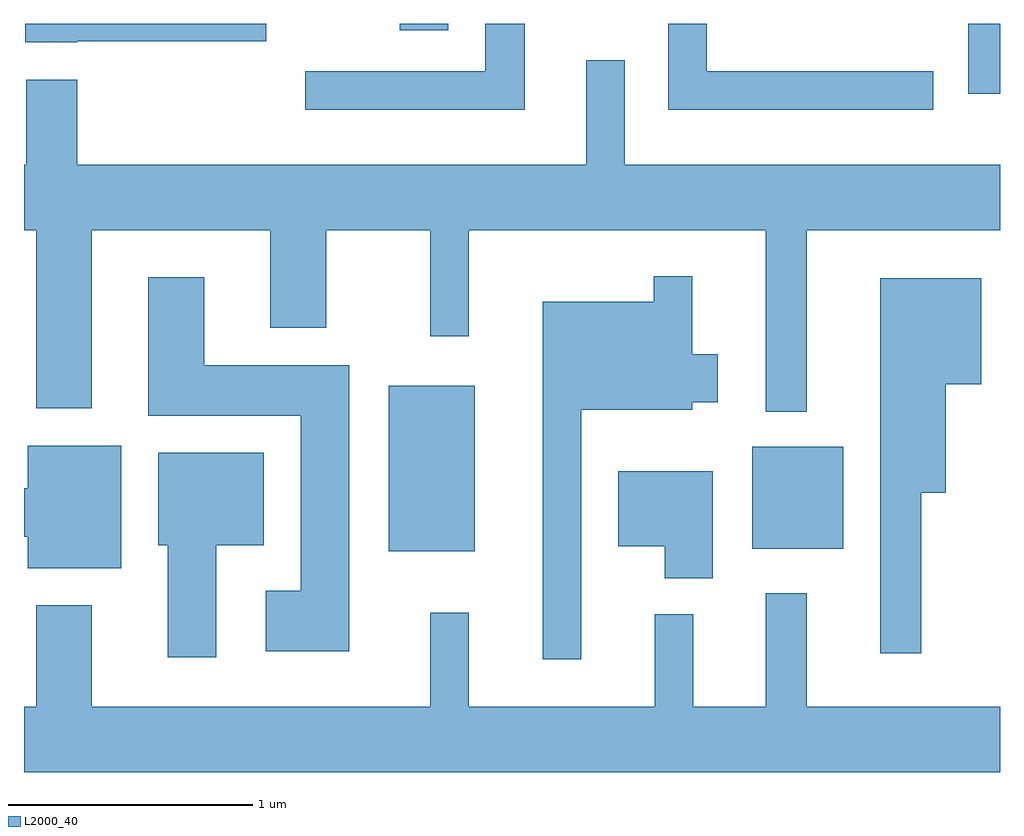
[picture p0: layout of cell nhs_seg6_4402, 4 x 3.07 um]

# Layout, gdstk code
import gdstk
lib = gdstk.Library(unit=1e-6, precision=1e-09)
def R(c, l, rs):  # rectangles x0, y0, x1, y1
    for r in rs: c.add(gdstk.rectangle(r[:2], r[2:], *l))
def P(c, l, *ps):  # polygons
    for p in ps: c.add(gdstk.Polygon(p, *l))
L2000_40 = (2000, 40)

nhs_seg6_4402 = lib.new_cell('nhs_seg6_4402')
R(nhs_seg6_4402, L2000_40, [(321.106,1602.001,321.459,1602.679), (322.596,1602.011,322.969,1602.429), (323.481,1603.876,323.611,1604.162), (321.151,1604.136,321.349,1604.162)])
P(nhs_seg6_4402, L2000_40, [(323.338,1603.969),(322.409,1603.969),(322.409,1604.162),(322.251,1604.162),(322.251,1603.811),(323.338,1603.811)],
  [(321.664,1604.162),(321.501,1604.162),(321.501,1603.969),(320.763,1603.969),(320.763,1603.811),(321.664,1603.811)],
  [(319.83,1604.091),(320.604,1604.091),(320.604,1604.162),(319.616,1604.162),(319.616,1604.086),(319.83,1604.086)],
  [(322.819,1603.316),(323.611,1603.316),(323.611,1603.584),(322.074,1603.584),(322.074,1604.013),(321.916,1604.013),(321.916,1603.584),(319.829,1603.584),(319.829,1603.934),(319.621,1603.934),(319.621,1603.584),(319.611,1603.584),(319.611,1603.316),(319.661,1603.316),(319.661,1602.586),(319.889,1602.586),(319.889,1603.316),(320.621,1603.316),(320.621,1602.916),(320.849,1602.916),(320.849,1603.316),(321.276,1603.316),(321.276,1602.883),(321.434,1602.883),(321.434,1603.316),(322.651,1603.316),(322.651,1602.573),(322.819,1602.573)],
  [(321.894,1602.581),(322.349,1602.581),(322.349,1602.611),(322.454,1602.611),(322.454,1602.809),(322.349,1602.809),(322.349,1603.128),(322.191,1603.128),(322.191,1603.024),(321.736,1603.024),(321.736,1601.558),(321.894,1601.558)],
  [(320.944,1602.764),(320.349,1602.764),(320.349,1603.124),(320.121,1603.124),(320.121,1602.556),(320.746,1602.556),(320.746,1601.839),(320.601,1601.839),(320.601,1601.591),(320.944,1601.591)],
  [(323.289,1602.241),(323.389,1602.241),(323.389,1602.686),(323.534,1602.686),(323.534,1603.119),(323.121,1603.119),(323.121,1601.583),(323.289,1601.583)],
  [(320.009,1602.434),(319.626,1602.434),(319.626,1602.259),(319.611,1602.259),(319.611,1602.061),(319.626,1602.061),(319.626,1601.931),(320.009,1601.931)],
  [(320.399,1602.026),(320.594,1602.026),(320.594,1602.404),(320.161,1602.404),(320.161,1602.026),(320.201,1602.026),(320.201,1601.566),(320.399,1601.566)],
  [(322.434,1602.329),(322.046,1602.329),(322.046,1602.021),(322.236,1602.021),(322.236,1601.891),(322.434,1601.891)],
  [(323.611,1601.364),(322.819,1601.364),(322.819,1601.828),(322.651,1601.828),(322.651,1601.364),(322.354,1601.364),(322.354,1601.743),(322.196,1601.743),(322.196,1601.364),(321.434,1601.364),(321.434,1601.748),(321.276,1601.748),(321.276,1601.364),(319.889,1601.364),(319.889,1601.779),(319.661,1601.779),(319.661,1601.364),(319.611,1601.364),(319.611,1601.096),(323.611,1601.096)])

lib.write_gds('nhs_seg6_4402.gds')
